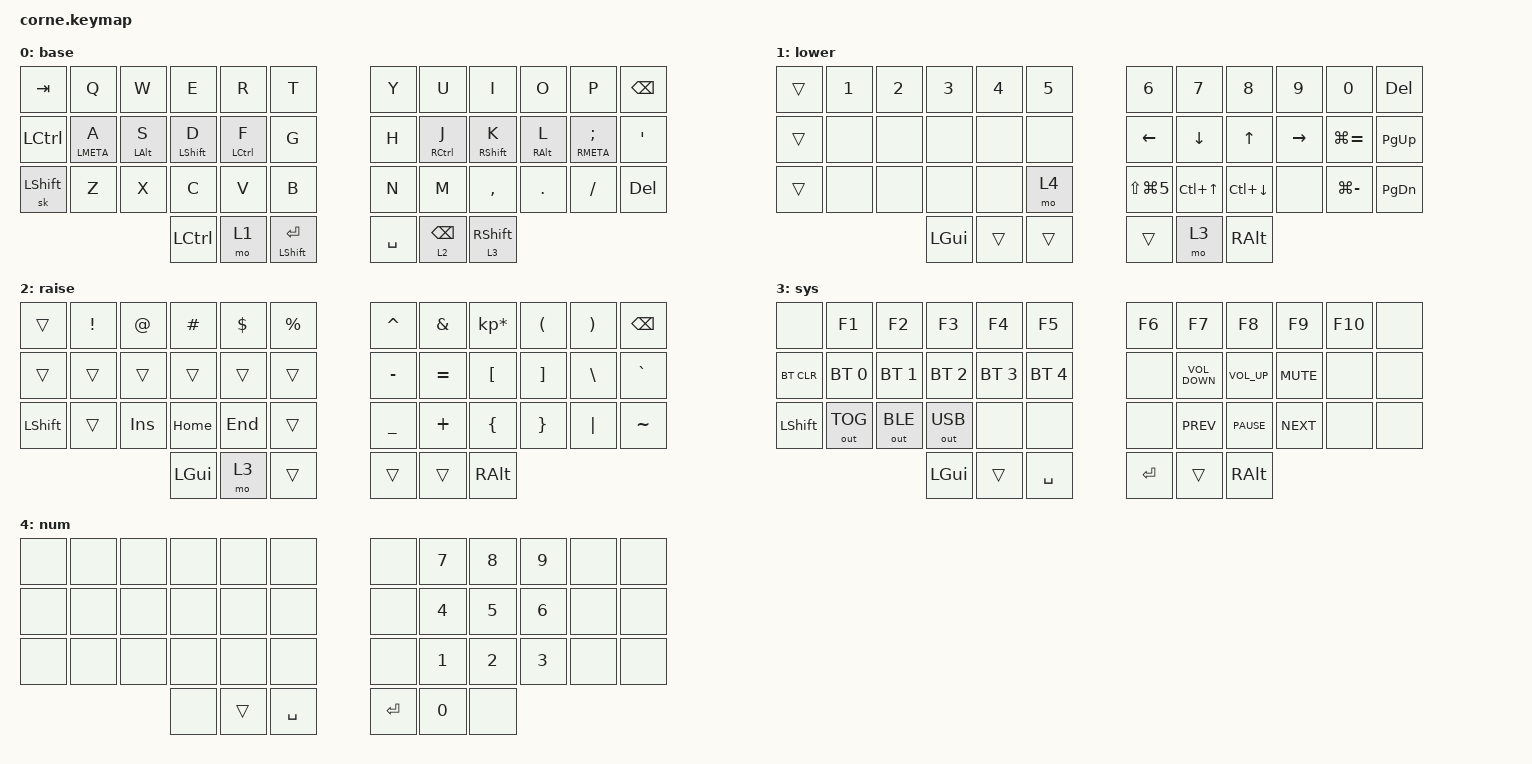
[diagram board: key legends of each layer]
/*
 * Copyright (c) 2020 The ZMK Contributors
 *
 * SPDX-License-Identifier: MIT
 */

#include <behaviors.dtsi>
#include <dt-bindings/zmk/bt.h>
#include <dt-bindings/zmk/keys.h>
#include <dt-bindings/zmk/outputs.h>

/ {
    combos {
        compatible = "zmk,combos";

        brace_left {
            bindings = <&kp LEFT_BRACKET>;
            key-positions = <17 16>;
        };

        brace_right {
            bindings = <&kp RIGHT_BRACKET>;
            key-positions = <18 19>;
        };

        parens_left {
            bindings = <&kp LEFT_PARENTHESIS>;
            key-positions = <4 5>;
        };

        parens_right {
            bindings = <&kp RIGHT_PARENTHESIS>;
            key-positions = <6 7>;
        };

        curly_left {
            bindings = <&kp LEFT_BRACE>;
            key-positions = <28 29>;
        };

        curly_right {
            bindings = <&kp RIGHT_BRACE>;
            key-positions = <30 31>;
        };

        escape {
            bindings = <&kp ESCAPE>;
            key-positions = <0 1>;
        };

        caps_word {
            bindings = <&caps_word>;
            key-positions = <17 18>;
        };
    };

    behaviors {
        bhm: balanced_homerow_mods {
            compatible = "zmk,behavior-hold-tap";
            #binding-cells = <2>;
            tapping-term-ms = <200>;    // <---[[moderate duration]]
            quick-tap-ms = <0>;
            flavor = "balanced";
            bindings = <&kp>, <&kp>;
        };
    };

    keymap {
        compatible = "zmk,keymap";

        default_layer {
            // -----------------------------------------------------------------------------------------
            // |  TAB |  Q  |  W  |  E  |  R  |  T  |   |  Y  |  U   |  I  |  O  |  P  | BKSP |
            // | CTRL |  A  |  S  |  D  |  F  |  G  |   |  H  |  J   |  K  |  L  |  ;  |  '   |
            // | SHFT |  Z  |  X  |  C  |  V  |  B  |   |  N  |  M   |  ,  |  .  |  /  | ESC  |
            //                    | GUI | LWR | SPC |   | ENT | RSE  | ALT |

            display-name = "base";
            bindings = <
&kp TAB    &kp Q         &kp W        &kp E          &kp R         &kp T                   &kp Y      &kp U            &kp I          &kp O        &kp P                 &kp BACKSPACE
&kp LCTRL  &bhm LMETA A  &bhm LALT S  &bhm LSHIFT D  &bhm LCTRL F  &kp G                   &kp H      &bhm RCTRL J     &bhm RSHIFT K  &bhm RALT L  &bhm RMETA SEMICOLON  &kp SQT
&sk LSHFT  &kp Z         &kp X        &kp C          &kp V         &kp B                   &kp N      &kp M            &kp COMMA      &kp DOT      &kp FSLH              &kp DELETE
                                      &kp LCTRL      &mo 1         &mt LEFT_SHIFT ENTER    &kp SPACE  &lt 2 BACKSPACE  &lt 3 RSHFT
            >;
        };

        lower_layer {
            // -----------------------------------------------------------------------------------------
            // |  TAB |  1  |  2  |  3  |  4  |  5  |   |  6  |  7  |  8  |  9  |  0  | BKSP |
            // | BTCLR| BT1 | BT2 | BT3 | BT4 | BT5 |   | LFT | DWN |  UP | RGT |     |      |
            // | SHFT |     |     |     |     |     |   |     |     |     |     |     |      |
            //                    | GUI |     | SPC |   | ENT |     | ALT |

            display-name = "lower";
            bindings = <
&trans  &kp N1  &kp N2  &kp N3    &kp NUMBER_4  &kp N5    &kp N6          &kp N7      &kp N8        &kp N9     &kp N0         &kp DELETE
&trans  &none   &none   &none     &none         &none     &kp LEFT        &kp DOWN    &kp UP        &kp RIGHT  &kp LG(EQUAL)  &kp PAGE_UP
&trans  &none   &none   &none     &none         &mo 4     &kp LS(LG(N5))  &kp LC(UP)  &kp LC(DOWN)  &none      &kp LG(MINUS)  &kp PAGE_DOWN
                        &kp LGUI  &trans        &trans    &trans          &mo 3       &kp RALT
            >;
        };

        raise_layer {
            // -----------------------------------------------------------------------------------------
            // |  TAB |  !  |  @  |  #  |  $  |  %  |   |  ^  |  &  |  *  |  (  |  )  | BKSP |
            // | CTRL |     |     |     |     |     |   |  -  |  =  |  [  |  ]  |  \  |  `   |
            // | SHFT |     |     |     |     |     |   |  _  |  +  |  {  |  }  | "|" |  ~   |
            //                    | GUI |     | SPC |   | ENT |     | ALT |

            display-name = "raise";
            bindings = <
&trans     &kp EXCL  &kp AT   &kp HASH  &kp DLLR  &kp PRCNT    &kp CARET  &kp AMPS   &kp KP_MULTIPLY  &kp LPAR  &kp RPAR  &kp BSPC
&trans     &trans    &trans   &trans    &trans    &trans       &kp MINUS  &kp EQUAL  &kp LBKT         &kp RBKT  &kp BSLH  &kp GRAVE
&kp LSHFT  &trans    &kp INS  &kp HOME  &kp END   &trans       &kp UNDER  &kp PLUS   &kp LBRC         &kp RBRC  &kp PIPE  &kp TILDE
                              &kp LGUI  &mo 3     &trans       &trans     &trans     &kp RALT
            >;
        };

        sys_layer {
            display-name = "sys";
            bindings = <
&none       &kp F1        &kp F2        &kp F3        &kp F4        &kp F5          &kp F6   &kp F7             &kp F8           &kp F9      &kp F10  &none
&bt BT_CLR  &bt BT_SEL 0  &bt BT_SEL 1  &bt BT_SEL 2  &bt BT_SEL 3  &bt BT_SEL 4    &none    &kp C_VOLUME_DOWN  &kp C_VOLUME_UP  &kp K_MUTE  &none    &none
&kp LSHFT   &out OUT_TOG  &out OUT_BLE  &out OUT_USB  &none         &none           &none    &kp C_PREV         &kp C_PAUSE      &kp C_NEXT  &none    &none
                                        &kp LGUI      &trans        &kp SPACE       &kp RET  &trans             &kp RALT
            >;
        };

        //                extra_1 {
        //                        status = "reserved";
        //                };

        numpad {
            display-name = "num";
            bindings = <
&none  &none  &none  &none  &none   &none        &none    &kp N7  &kp N8  &kp N9  &none  &none
&none  &none  &none  &none  &none   &none        &none    &kp N4  &kp N5  &kp N6  &none  &none
&none  &none  &none  &none  &none   &none        &none    &kp N1  &kp N2  &kp N3  &none  &none
                     &none  &trans  &kp SPACE    &kp RET  &kp N0  &none
            >;
        };

        extra_3 { status = "reserved"; };
    };

    conditional_layers { compatible = "zmk,conditional-layers"; };
};
